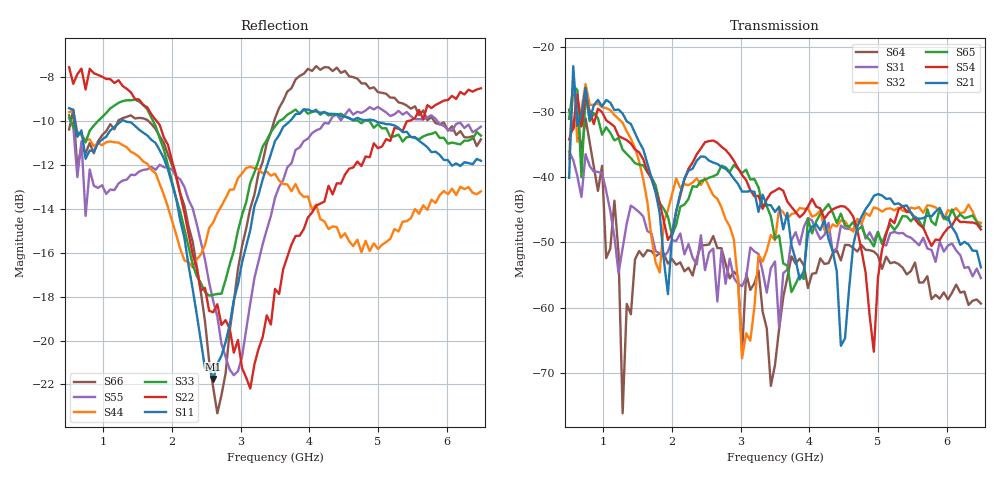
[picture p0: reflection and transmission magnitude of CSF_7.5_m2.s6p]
!Keysight Technologies,M9804A,MY58100912,A.14.10.03
!Date: Thursday, April 27, 2023 10:28:33
!Correction: S11(C  6-Port  )
!S12(C  6-Port  )
!S13(C  6-Port  )
!S14(C  6-Port  )
!S15(C  6-Port  )
!S16(C  6-Port  )
!S21(C  6-Port  )
!S22(C  6-Port  )
!S23(C  6-Port  )
!S24(C  6-Port  )
!S25(C  6-Port  )
!S26(C  6-Port  )
!S31(C  6-Port  )
!S32(C  6-Port  )
!S33(C  6-Port  )
!S34(C  6-Port  )
!S35(C  6-Port  )
!S36(C  6-Port  )
!S41(C  6-Port  )
!S42(C  6-Port  )
!S43(C  6-Port  )
!S44(C  6-Port  )
!S45(C  6-Port  )
!S46(C  6-Port  )
!S51(C  6-Port  )
!S52(C  6-Port  )
!S53(C  6-Port  )
!S54(C  6-Port  )
!S55(C  6-Port  )
!S56(C  6-Port  )
!S61(C  6-Port  )
!S62(C  6-Port  )
!S63(C  6-Port  )
!S64(C  6-Port  )
!S65(C  6-Port  )
!S66(C  6-Port  )
!S6P File: Measurement: :
# Hz S  RI  R 50
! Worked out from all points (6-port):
!   101 points, 500 MHz to 6.5 GHz, reference 50 ohm
!   strongest paths, dB at 500 MHz, 2 GHz, 3.5 GHz, 5 GHz, 6.5 GHz:
!     S21: -40.1, -48.8, -45.3, -42.6, -53.8
!     S54: -34.2, -48.6, -42.1, -55.4, -48.0
!     S65: -31.0, -48.9, -49.4, -48.4, -47.6
!     S32: -37.2, -42.6, -49.7, -44.8, -47.0
!     S31: -36.0, -49.7, -52.9, -48.4, -55.5
!     S64: -29.6, -52.6, -68.8, -52.0, -59.4
!   lowest |S11| = -21.8 dB at 2.6 GHz (marker M1), VSWR 1.18, Z = 42.7 + j1.96 ohm
!   |S11| at or under -10 dB: 584.2 MHz to 1.268 GHz (684 MHz wide, 73.8 % of centre); 1.302 GHz to 3.722 GHz (2.42 GHz wide, 96.3 % of centre); 4.953 GHz to end of sweep
